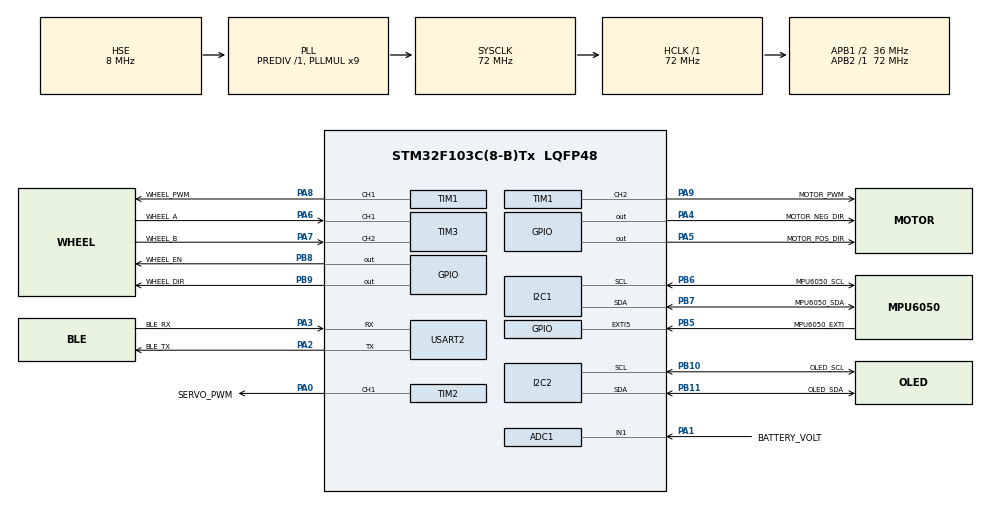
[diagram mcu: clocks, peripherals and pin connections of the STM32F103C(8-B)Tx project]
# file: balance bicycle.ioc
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ADC1.Channel-5\#ChannelRegularConversion=ADC_CHANNEL_1
ADC1.NbrOfConversionFlag=1
ADC1.Rank-5\#ChannelRegularConversion=1
ADC1.SamplingTime-5\#ChannelRegularConversion=ADC_SAMPLETIME_1CYCLE_5
ADC1.master=1
I2C1.I2C_Mode=I2C_Standard
Mcu.Family=STM32F1
Mcu.Name=STM32F103C(8-B)Tx
Mcu.Package=LQFP48
NVIC.EXTI9_5_IRQn=true\:0\:0\:false\:false\:true\:true\:true\:true
NVIC.PriorityGroup=NVIC_PRIORITYGROUP_4
PA0-WKUP.GPIO_Label=SERVO_PWM
PA0-WKUP.GPIO_Speed=GPIO_SPEED_FREQ_HIGH
PA0-WKUP.Signal=S_TIM2_CH1_ETR
PA1.GPIO_Label=BATTERY_VOLT
PA1.Signal=ADCx_IN1
PA13.Mode=Serial_Wire
PA13.Signal=SYS_JTMS-SWDIO
PA14.Mode=Serial_Wire
PA14.Signal=SYS_JTCK-SWCLK
PA2.GPIO_Label=BLE_TX
PA2.Mode=Asynchronous
PA2.Signal=USART2_TX
PA3.GPIO_Label=BLE_RX
PA3.GPIO_PuPd=GPIO_PULLUP
PA3.Mode=Asynchronous
PA3.Signal=USART2_RX
PA4.GPIO_Label=MOTOR_NEG_DIR
PA4.GPIO_Speed=GPIO_SPEED_FREQ_HIGH
PA4.Signal=GPIO_Output
PA5.GPIO_Label=MOTOR_POS_DIR
PA5.GPIO_Speed=GPIO_SPEED_FREQ_HIGH
PA5.PinState=GPIO_PIN_SET
PA5.Signal=GPIO_Output
PA6.GPIO_Label=WHEEL_A
PA6.Signal=S_TIM3_CH1
PA7.GPIO_Label=WHEEL_B
PA7.Signal=S_TIM3_CH2
PA8.GPIO_Label=WHEEL_PWM
PA8.GPIO_Speed=GPIO_SPEED_FREQ_HIGH
PA8.Signal=S_TIM1_CH1
PA9.GPIO_Label=MOTOR_PWM
PA9.GPIO_Speed=GPIO_SPEED_FREQ_HIGH
PA9.Signal=S_TIM1_CH2
PB10.GPIO_Label=OLED_SCL
PB10.Mode=I2C
PB10.Signal=I2C2_SCL
PB11.GPIO_Label=OLED_SDA
PB11.Mode=I2C
PB11.Signal=I2C2_SDA
PB5.GPIO_Label=MPU6050_EXTI
PB5.GPIO_ModeDefaultEXTI=GPIO_MODE_IT_FALLING
PB5.GPIO_PuPd=GPIO_PULLUP
PB5.Signal=GPXTI5
PB6.GPIO_Label=MPU6050_SCL
PB6.Mode=I2C
PB6.Signal=I2C1_SCL
PB7.GPIO_Label=MPU6050_SDA
PB7.Mode=I2C
PB7.Signal=I2C1_SDA
PB8.GPIO_Label=WHEEL_EN
PB8.GPIO_Speed=GPIO_SPEED_FREQ_HIGH
PB8.PinState=GPIO_PIN_SET
PB8.Signal=GPIO_Output
PB9.GPIO_Label=WHEEL_DIR
PB9.GPIO_Speed=GPIO_SPEED_FREQ_HIGH
PB9.PinState=GPIO_PIN_SET
PB9.Signal=GPIO_Output
PD0-OSC_IN.Mode=HSE-External-Oscillator
PD0-OSC_IN.Signal=RCC_OSC_IN
PD1-OSC_OUT.Mode=HSE-External-Oscillator
PD1-OSC_OUT.Signal=RCC_OSC_OUT
ProjectManager.HeapSize=0x200
ProjectManager.StackSize=0x400
ProjectManager.TargetToolchain=MDK-ARM V5.32
RCC.ADCPresc=RCC_ADCPCLK2_DIV6
RCC.AHBFreq_Value=72000000
RCC.APB1CLKDivider=RCC_HCLK_DIV2
RCC.APB1Freq_Value=36000000
RCC.APB1TimFreq_Value=72000000
RCC.APB2Freq_Value=72000000
RCC.APB2TimFreq_Value=72000000
RCC.HCLKFreq_Value=72000000
RCC.PLLMUL=RCC_PLL_MUL9
RCC.PLLSourceVirtual=RCC_PLLSOURCE_HSE
RCC.SYSCLKFreq_VALUE=72000000
RCC.SYSCLKSource=RCC_SYSCLKSOURCE_PLLCLK
RCC.USBFreq_Value=72000000
SH.ADCx_IN1.0=ADC1_IN1,IN1
SH.S_TIM1_CH1.0=TIM1_CH1,PWM Generation1 CH1
SH.S_TIM1_CH2.0=TIM1_CH2,PWM Generation2 CH2
SH.S_TIM2_CH1_ETR.0=TIM2_CH1,PWM Generation1 CH1
SH.S_TIM3_CH1.0=TIM3_CH1,Encoder_Interface
SH.S_TIM3_CH2.0=TIM3_CH2,Encoder_Interface
TIM1.Channel-PWM\ Generation1\ CH1=TIM_CHANNEL_1
TIM1.Channel-PWM\ Generation2\ CH2=TIM_CHANNEL_2
TIM1.OCPolarity_1=TIM_OCPOLARITY_LOW
TIM1.OCPolarity_2=TIM_OCPOLARITY_LOW
TIM1.Period=7199
TIM2.Channel-PWM\ Generation1\ CH1=TIM_CHANNEL_1
TIM2.Period=19999
TIM2.Prescaler=71
TIM3.EncoderMode=TIM_ENCODERMODE_TI12
TIM3.IC1Filter=10
USART2.VirtualMode=VM_ASYNC
board=custom

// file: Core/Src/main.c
/* USER CODE BEGIN Header */
/**
  ******************************************************************************
  * @file           : main.c
  * @brief          : Main program body
  ******************************************************************************
  * @attention
  *
  * Copyright (c) 2025 STMicroelectronics.
  * All rights reserved.
  *
  * This software is licensed under terms that can be found in the LICENSE file
  * in the root directory of this software component.
  * If no LICENSE file comes with this software, it is provided AS-IS.
  *
  ******************************************************************************
  */
/* USER CODE END Header */
#include "main.h"
#include "adc.h"
#include "i2c.h"
#include "tim.h"
#include "usart.h"
#include "gpio.h"

/* USER CODE BEGIN Includes */
#include "OLED.h"
#include "SERVO.h"
#include "MOTOR.h"
#include "WHEEL.h"
#include "ENCODER.h"
#include "MPU6050.h"
#include "DataProcess.h"
#include "PID.h"
#include "vofa.h"
/* USER CODE END Includes */

/* USER CODE BEGIN PD */
#define abs(x) 			(x > 0 ? x : -x)
/* USER CODE END PD */

/* USER CODE BEGIN PV */
uint8_t mode = 0;
uint8_t rx_data;
float pitch, roll, yaw;
short gyro[3], accel[3];

/* USER CODE END PV */

void SystemClock_Config(void);

/* USER CODE BEGIN 0 */

//蓝牙中断接收函数
void HAL_UART_RxCpltCallback(UART_HandleTypeDef *huart)
{
  static uint8_t tmp_data;  //临时存储

  if (huart->Instance == USART2)
  {
    tmp_data = rx_data;  //获取数据

    switch(uart2_rx_state)
    {
      case 0:
        if(tmp_data == '@')
        {
          uart2_rx_state = 1;
          uart2_rx_length = 0;
          uart2_rx_flag = 0;
        }
        break;

      case 1:  //接收数据体
        if(tmp_data == '\r')
        {
          uart2_rx_state = 2;
        }
        else
        {
          if(uart2_rx_length < RX_BUFFER_SIZE-1)
          {
            uart2_rx_buffer[uart2_rx_length++] = tmp_data;
          }
        }
        break;

      case 2:
        if(tmp_data == '\n')
        {
          uart2_rx_buffer[uart2_rx_length] = '\0';
          uart2_rx_flag = 1;
        }
        uart2_rx_state = 0;  //重置
        break;
    }

    HAL_UART_Receive_IT(&huart2, &rx_data, 1);
  }
}

//MPU6050外部中断回调
void HAL_GPIO_EXTI_Callback(uint16_t GPIO_Pin)
{
  if (GPIO_Pin == MPU6050_EXTI_Pin)
  {
    int vertical_out = Vertical(roll, gyro[0]),
        velocity_out = Velocity(Encoder_Get());

    int Out = vertical_out + velocity_out;
    Wheel_Load(Out);

    //VOFA_Transmit(roll);
  }
}

float ADC_GetPower(ADC_HandleTypeDef *hadc)
{
  return ((float)HAL_ADC_GetValue(hadc) / 4096 * 3.3 * 11.582 - 11.1) / (12.8 - 11.1) * 100;
}

/* USER CODE END 0 */

int main(void)
{

  /* MCU Configuration--------------------------------------------------------*/

  /* Reset of all peripherals, Initializes the Flash interface and the Systick. */
  HAL_Init();

  /* Configure the system clock */
  SystemClock_Config();

  /* Initialize all configured peripherals */
  MX_GPIO_Init();
  MX_I2C1_Init();
  MX_I2C2_Init();
  MX_USART2_UART_Init();
  MX_ADC1_Init();
  MX_TIM1_Init();
  MX_TIM2_Init();
  MX_TIM3_Init();
  /* USER CODE BEGIN 2 */
  OLED_Init();
  Servo_Init();
  MOTOR_Init();
  Wheel_Init();
  int ret;
  do
  {
    ret = MPU6050_DMP_Init();
    HAL_Delay(1000);
  } while (ret);
  HAL_UART_Receive_IT(&huart2, &rx_data, 1);
  HAL_ADC_Start(&hadc1);

  OLED_ShowString(1, 1, "SCUT  RFA");
  OLED_ShowString(2, 1, "Yibai Team");
  OLED_ShowString(3, 1, "Power:     %");
  /* USER CODE END 2 */

  /* Infinite loop */
  while (1)
  {
    if (mode == 0)
    {
      OLED_ShowFloat(3, 7, ADC_GetPower(&hadc1));
    }
    /*蓝牙代码*/
    if(uart2_rx_flag)
    {
        uart2_rx_flag = 0;  // 清除标志
        ProcessUARTCommand(uart2_rx_buffer);  // 处理接收到的命令
    }
    /*以上是蓝牙代码*/

    /*以下是mpu6050代码*/
    MPU6050_DMP_Get_Data(&pitch, &roll, &yaw);
    MPU6050_Get_Gyroscope(gyro);
    MPU6050_Get_Accelerometer(accel);
    /*以上是mpu6050代码*/

    if (abs(roll - med_angle) > 15)
    {
      Wheel_SetDir(0);
      wheel_en = 0;
    }
    else
      wheel_en = 1;
  }
}

void SystemClock_Config(void)
{
  RCC_OscInitTypeDef RCC_OscInitStruct = {0};
  RCC_ClkInitTypeDef RCC_ClkInitStruct = {0};
  RCC_PeriphCLKInitTypeDef PeriphClkInit = {0};

  /** Initializes the RCC Oscillators according to the specified parameters
  * in the RCC_OscInitTypeDef structure.
  */
  RCC_OscInitStruct.OscillatorType = RCC_OSCILLATORTYPE_HSE;
  RCC_OscInitStruct.HSEState = RCC_HSE_ON;
  RCC_OscInitStruct.HSEPredivValue = RCC_HSE_PREDIV_DIV1;
  RCC_OscInitStruct.HSIState = RCC_HSI_ON;
  RCC_OscInitStruct.PLL.PLLState = RCC_PLL_ON;
  RCC_OscInitStruct.PLL.PLLSource = RCC_PLLSOURCE_HSE;
  RCC_OscInitStruct.PLL.PLLMUL = RCC_PLL_MUL9;
  if (HAL_RCC_OscConfig(&RCC_OscInitStruct) != HAL_OK)
  {
    Error_Handler();
  }

  /** Initializes the CPU, AHB and APB buses clocks
  */
  RCC_ClkInitStruct.ClockType = RCC_CLOCKTYPE_HCLK|RCC_CLOCKTYPE_SYSCLK
                              |RCC_CLOCKTYPE_PCLK1|RCC_CLOCKTYPE_PCLK2;
  RCC_ClkInitStruct.SYSCLKSource = RCC_SYSCLKSOURCE_PLLCLK;
  RCC_ClkInitStruct.AHBCLKDivider = RCC_SYSCLK_DIV1;
  RCC_ClkInitStruct.APB1CLKDivider = RCC_HCLK_DIV2;
  RCC_ClkInitStruct.APB2CLKDivider = RCC_HCLK_DIV1;

  if (HAL_RCC_ClockConfig(&RCC_ClkInitStruct, FLASH_LATENCY_2) != HAL_OK)
  {
    Error_Handler();
  }
  PeriphClkInit.PeriphClockSelection = RCC_PERIPHCLK_ADC;
  PeriphClkInit.AdcClockSelection = RCC_ADCPCLK2_DIV6;
  if (HAL_RCCEx_PeriphCLKConfig(&PeriphClkInit) != HAL_OK)
  {
    Error_Handler();
  }
}

void Error_Handler(void)
{
  __disable_irq();
  while (1)
  {
  }
}
